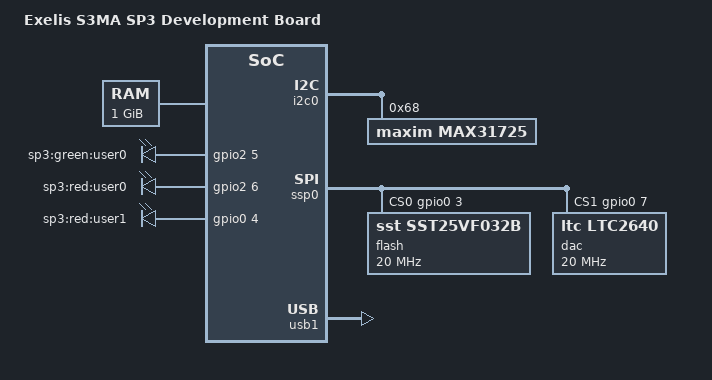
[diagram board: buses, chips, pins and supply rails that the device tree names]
/*
 *  Copyright (C) 2015 Silver Bullet Technology
 *
 * This program is free software; you can redistribute it and/or modify
 * it under the terms of the GNU General Public License as published by
 * the Free Software Foundation; either version 2 of the License, or
 * (at your option) any later version.
 *
 * This program is distributed in the hope that it will be useful,
 * but WITHOUT ANY WARRANTY; without even the implied warranty of
 * MERCHANTABILITY or FITNESS FOR A PARTICULAR PURPOSE.  See the
 * GNU General Public License for more details.
 *
 * You should have received a copy of the GNU General Public License
 * along with this program.  If not, see <http://www.gnu.org/licenses/>.
 */

/dts-v1/;
#include <dt-bindings/gpio/gpio.h>
#include <dt-bindings/interrupt-controller/irq.h>

#include "s3ma.dtsi"

/ {
	model = "Exelis S3MA SP3 Development Board";
	compatible = "exelis,s3ma_sp3dev";

	chosen {
		bootargs = "console=ttyAMA0,115200";
	};

	memory {
		name = "memory";
		device_type = "memory";
		reg = <0x0 0x40000000>; /* 1 GB */
	};
	
	gpio-leds {
        compatible = "gpio-leds";

        user0 {
            label = "sp3:green:user0";
            gpios = <&gpio2 5 GPIO_ACTIVE_HIGH>;
        };
        user1 {
            label = "sp3:red:user0";
            gpios = <&gpio2 6 GPIO_ACTIVE_HIGH>;
        };
        user2 {
            label = "sp3:red:user1";
            gpios = <&gpio0 4 GPIO_ACTIVE_HIGH>;
        };
    };
    rproc0: remoteproc@0 {
	    compatible = "exelis,s3ma_remoteproc";
	    reg = < 0x0 0x10000000 >;
	    interrupt-parent = <&intc>;
	    /* 101 - UART1, 98 - timer0 */
	    /* interrupts = < 0 101 IRQ_TYPE_LEVEL_HIGH 0 98 IRQ_TYPE_LEVEL_HIGH>; */
	    firmware = "freertos";
	    cpu = <1>;
	    ipino = <5>;
	    vring0 = <2>;
	    vring1 = <3>;
	} ;
};

&gpio0 {
	status = "okay";
};

&gpio1 {
	status = "okay";
};

&gpio2 {
	status = "okay";
};

&i2c0 {
	status = "okay";

    /* TBD */
	max31725@68 {
		compatible = "maxim,max31725";
		reg = <0x68>;
	};
};

&ssp0 {
    fsl,spi-num-chipselects = <2>;
    cs-gpios = <&gpio0 3 0>, <&gpio0 7 0>;
    flash: m25p80@0 {
        compatible = "sst,sst25vf032b", "st,m25p80";
        spi-max-frequency = <20000000>;
        reg = <0>;
    };
    dac: ltc2640@1 {
        compatible = "ltc,ltc2640";
        spi-max-frequency = <20000000>;
        reg = <1>;
    };
    
};

&usb0 {
	status = "disabled";
	sbt,force-ulpi;
};

&usb1 {
	status = "okay";
	sbt,force-ulpi;
};

&timer {
	status = "disabled";
};

&pdma {
	status = "disabled";
};

